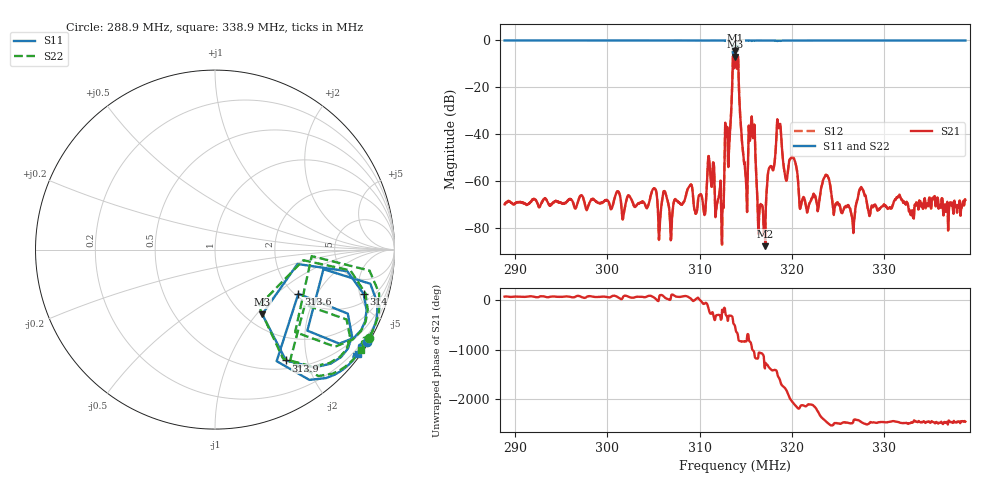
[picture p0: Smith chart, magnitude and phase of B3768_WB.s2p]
! Matrix data file written by TouchstoneData, EPCOS AG
! FILENAME: "B3768_WB.s2p"
! COMMENT: "PINNING 2/5; PORTEX1 104.5PS; PORTEX2 195PS;"
! INFO: nport=2, nfreq=1601
! DATE: "Wed Sep 19 15:41:14 2012"
! USER: "Wilfried Schott"
! port | pin | signal
!  1  |  2  |  IN
!  2  |  5  |  OUT
# MHZ S MA R 50
! freq  magS11 angS11  magS21 angS21  magS12 angS12  magS22 angS22
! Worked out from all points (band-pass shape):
!   1601 points, 288.9 MHz to 338.9 MHz, reference 50 ohm
!   highest |S21| = -4.40 dB at 313.9 MHz (marker M1); lowest = -87.6 dB at 317.1 MHz (marker M2)
!   |S21| within 3 dB of the highest: 313.8407 MHz to 313.9494 MHz (108.7 kHz wide, 0.0346 % of centre); 314.157 MHz to 314.1966 MHz (39.64 kHz wide, 0.0126 % of centre) (the widest 2 of 3)
!   lowest |S11| = -7.0 dB at 313.9 MHz (marker M3), VSWR 2.61, Z = 59.5 - j53.6 ohm
!   |S11| at or under -10 dB: nowhere
!   |S22| runs from -8.0 to -0.1 dB; largest |S21 - S12| = 0.00093
!   S11 on the Smith chart (normalised r, x): 288.9 MHz: 0.06, -3.58; 313.6 MHz: 2.08, -1.42; 313.9 MHz: 0.62, -1.65; 314 MHz: 2.79, -5.46; 338.9 MHz: 0.06, -3.06
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288.85  0.9907 -31.2  0.0003234 66.7  0.00032 67.2  0.99 -29.8
297.1938  0.9904 -32.2  0.0005086 58.8  0.0005082 58.3  0.9894 -30.8
305.5375  0.9891 -33.3  0.0001273 -24.5  0.0001345 -24.1  0.9885 -31.9
310.5063  0.9879 -34.5  0.0002015 -79.7  0.000201 -81.4  0.9867 -33.0
311.0375  0.9852 -34.4  0.003038 133.0  0.003028 132.9  0.9837 -33.0
312.3813  0.9887 -35.9  0.0001219 -20.4  0.0001147 -16.7  0.988 -34.5
313.6313  0.5255 -27.9  0.4646 -63.8  0.4642 -63.8  0.5876 -31.5
313.85  0.7336 -57.4  0.4645 -166.8  0.4638 -166.7  0.7163 -58.0
313.8813  0.4462 -53.9  0.6022 161.8  0.6019 161.9  0.3973 -52.3
313.975  0.8645 -16.6  0.3402 82.2  0.3397 82.2  0.8737 -16.3
314.975  0.9898 -31.0  0.001551 -116.5  0.001545 -116.1  0.9892 -29.4
315.7563  0.9864 -31.9  0.01016 72.1  0.01014 72.2  0.9864 -30.5
316.4125  0.9886 -32.8  9.289e-05 3.5  9.245e-05 -4.5  0.9878 -31.3
317.1313  0.9864 -33.3  4.179e-05 147.6  4.49e-05 154.3  0.9844 -31.9
318.6  0.9812 -33.3  0.01356 -121.0  0.01353 -120.9  0.9803 -32.0
319.3188  0.9863 -33.4  0.001231 15.9  0.001223 16.0  0.9851 -31.9
322.1938  0.9889 -34.1  0.0004445 52.1  0.0004407 52.3  0.9877 -32.6
323.7563  0.9881 -34.2  0.001364 71.0  0.001363 71.1  0.9866 -32.8
326.6313  0.9895 -34.7  0.0001289 48.2  0.000125 47.9  0.9882 -33.3
327.5375  0.9889 -34.8  0.0007604 67.0  0.0007628 67.1  0.9877 -33.4
330.5375  0.9895 -35.2  0.0002721 67.6  0.0002686 66.8  0.9883 -33.7
338.85  0.9886 -36.2  0.0003993 74.3  0.0003968 74.2  0.9873 -34.7
